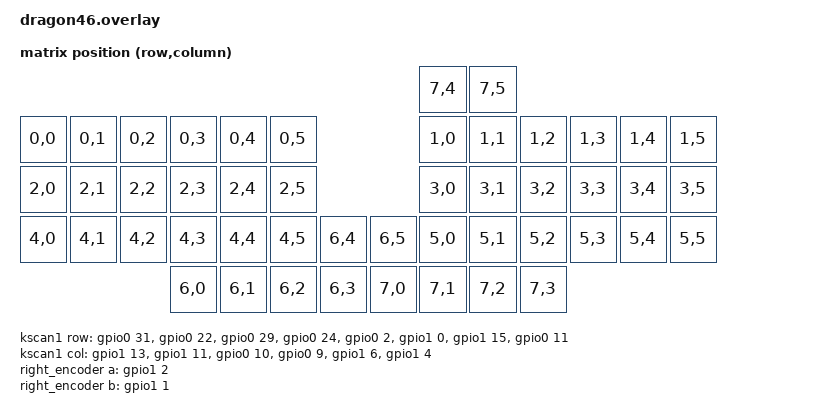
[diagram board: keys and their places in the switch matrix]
/*
 * Copyright (c) 2021 The ZMK Contributors
 *
 * SPDX-License-Identifier: MIT
 */

#include <dt-bindings/zmk/matrix_transform.h>

/ {
    chosen {
        zmk,kscan = &kscan1;
        zmk,matrix-transform = &default_transform;
    };

    default_transform: keymap_transform_0 {
        compatible = "zmk,matrix-transform";
        columns = <14>;
        rows = <5>;
        map = <
                                        /*RC(8,0)*/                   RC(7,4) RC(7,5) 
RC(0,0) RC(0,1) RC(0,2) RC(0,3) RC(0,4) RC(0,5)                   RC(1,0) RC(1,1) RC(1,2) RC(1,3) RC(1,4) RC(1,5)
RC(2,0) RC(2,1) RC(2,2) RC(2,3) RC(2,4) RC(2,5)                   RC(3,0) RC(3,1) RC(3,2) RC(3,3) RC(3,4) RC(3,5)
RC(4,0) RC(4,1) RC(4,2) RC(4,3) RC(4,4) RC(4,5) RC(6,4)   RC(6,5) RC(5,0) RC(5,1) RC(5,2) RC(5,3) RC(5,4) RC(5,5)
                        RC(6,0) RC(6,1) RC(6,2) RC(6,3)   RC(7,0) RC(7,1) RC(7,2) RC(7,3)
        >;
    };

/*
    kscan0: kscan_composite {
        compatible = "zmk,kscan-composite";
        rows = <9>;
        columns = <6>;

        // Include the matrix driver
        matrix {
            kscan = <&kscan1>;
        };

        // Include the direct GPIO driver...
        direct {
            kscan = <&kscan2>;
            row-offset = <8>; // ...and shift it to not overlap
        };
    };
*/

    kscan1: kscan_matrix {
        compatible = "zmk,kscan-gpio-matrix";
        /* wakeup-source; */
        diode-direction = "col2row";

        row-gpios
            = <&gpio0 31 (GPIO_ACTIVE_HIGH | GPIO_PULL_DOWN)>  /* ROW0 */
            , <&gpio0 22 (GPIO_ACTIVE_HIGH | GPIO_PULL_DOWN)>  /* ROW1 */
            , <&gpio0 29  (GPIO_ACTIVE_HIGH | GPIO_PULL_DOWN)> /* ROW2 */
            , <&gpio0 24 (GPIO_ACTIVE_HIGH | GPIO_PULL_DOWN)>  /* ROW3 */
            , <&gpio0 2 (GPIO_ACTIVE_HIGH | GPIO_PULL_DOWN)>   /* ROW4 */
            , <&gpio1 0 (GPIO_ACTIVE_HIGH | GPIO_PULL_DOWN)>   /* ROW5 */
            , <&gpio1 15 (GPIO_ACTIVE_HIGH | GPIO_PULL_DOWN)>  /* ROW6 */
            , <&gpio0 11 (GPIO_ACTIVE_HIGH | GPIO_PULL_DOWN)>  /* ROW7 */
            ;

        col-gpios
            = <&gpio1 13 GPIO_ACTIVE_HIGH>   /* COL0 */
            , <&gpio1 11 GPIO_ACTIVE_HIGH>   /* COL1 */
            , <&gpio0 10 GPIO_ACTIVE_HIGH>   /* COL2 */
            , <&gpio0  9 GPIO_ACTIVE_HIGH>   /* COL3 */
            , <&gpio1  6 GPIO_ACTIVE_HIGH>   /* COL4 */
            , <&gpio1  4 GPIO_ACTIVE_HIGH>   /* COL5 */
            ;
    };

/*
    kscan2: kscan {
        compatible = "zmk,kscan-gpio-direct";
        wakeup-source;
        input-gpios
            = <&gpio1 7 (GPIO_ACTIVE_LOW | GPIO_PULL_UP)>
            ;
    };
*/

    keys {
        compatible = "gpio-keys";
        on_off_key: soft_off_key {
            gpios = <&gpio1 7 (GPIO_ACTIVE_LOW | GPIO_PULL_UP)>;
        };
    };

behaviors {
        hw_soft_off: hw_soft_off {
            compatible = "zmk,behavior-soft-off";
            #binding-cells = <0>;
        };
    };

    soft_off_direct_kscan: soft_off_direct_kscan {
        compatible = "zmk,kscan-gpio-direct";
        input-keys = <&on_off_key>;
        wakeup-source;
    };

    soft_off_sideband_behaviors {
        compatible = "zmk,kscan-sideband-behaviors";
        kscan = <&soft_off_direct_kscan>;
        soft_off {
            row = <0>;
            column = <0>;
            bindings = <&hw_soft_off>;
        };
    };

    soft_off_wakers {
        compatible = "zmk,soft-off-wakeup-sources";
        status = "okay";
        wakeup-sources = <&soft_off_direct_kscan>;
    };

    /*

    wakeup_source: wakeup_source {
        compatible = "zmk,gpio-key-wakeup-trigger";
        trigger = <&on_off_key>;
        wakeup-source;
    };

    soft_off_wakers {
        compatible = "zmk,soft-off-wakeup-sources";
        wakeup-sources = <&wakeup_source> ;
    };

    behaviors {
        hw_soft_off: hw_soft_off {
            compatible = "zmk,behavior-soft-off";
            #binding-cells = <0>;
            hold-time-ms = <200>;
        };
    };

    soft_off_direct_scan: soft_off_direct_scan {
        compatible = "zmk,kscan-gpio-direct";
        input-keys = <&on_off_key>;
        wakeup-source;
    };

    side_band_behavior_triggers: side_band_behavior_triggers {
        compatible = "zmk,kscan-sideband-behaviors";
        kscan = <&soft_off_direct_scan>;
        auto-enable;
        wakeup-source;

        soft_off {
            column = <0>;
            row = <0>;
            bindings = <&hw_soft_off>;
        };
    };
    */
    
/*
keys {
    compatible = "gpio-keys";
    wakeup_key: wakeup_key {
      gpios = <&gpio1 7 (GPIO_ACTIVE_LOW | GPIO_PULL_UP)>;
    };
  };

  behaviors {
    hw_soft_off: behavior_hw_soft_off {
      compatible = "zmk,behavior-soft-off";
      #binding-cells = <0>;
      label = "HW_SOFT_OFF";
      hold-time-ms = <1000>;
    };
  };

  soft_off_behavior_key {
    compatible = "zmk,behavior-key";
    bindings = <&hw_soft_off>;
    key = <&wakeup_key>;
    status = "okay";
  };

  wakeup_source: wakeup_source {
    compatible = "zmk,wakeup-trigger-key";
    trigger = <&wakeup_key>;
    wakeup-source;
  };

  soft_off_wakers {
    compatible = "zmk,soft-off-wakup-sources";
    wakeup-sources = <&wakeup_source>;
  };
  */
/* ---------- */

    right_encoder: right_encoder {
        compatible = "alps,ec11";
        steps = <60>;
        a-gpios = <&gpio1 2 (GPIO_ACTIVE_LOW | GPIO_PULL_UP)>;
        b-gpios = <&gpio1 1 (GPIO_ACTIVE_LOW | GPIO_PULL_UP)>;
    };

    

    sensors: sensors {
        compatible = "zmk,keymap-sensors";
        sensors = <&right_encoder>;
        triggers-per-rotation = <15>;
    };
};

